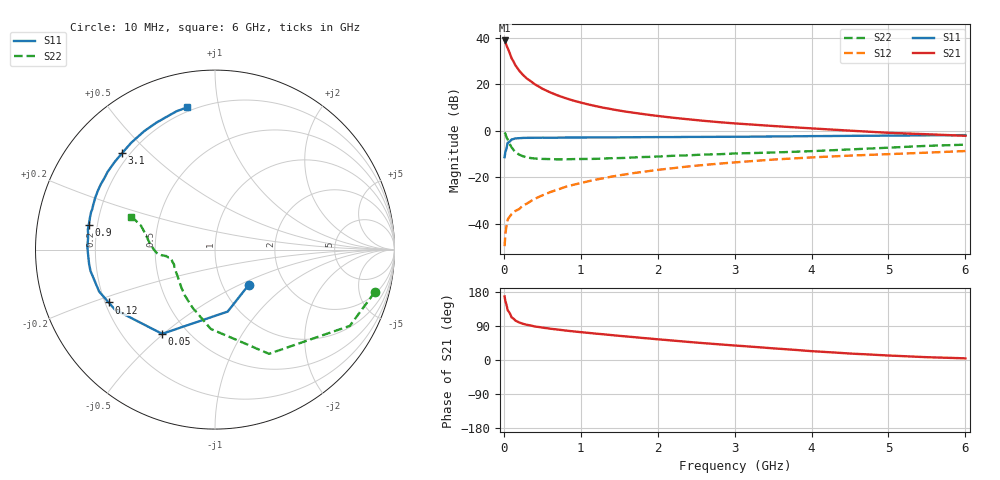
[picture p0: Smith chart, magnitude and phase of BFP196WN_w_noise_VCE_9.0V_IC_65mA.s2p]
! (c) 2017  Infineon Technologies AG, Munich
! Infineon Technologies  Discrete & RF Semiconductors
! BFP196WN
! VCE =  9.0 V,  IC =  65 mA
! Common Emitter S-Parameters:  Jan 2017
# GHz  S  MA  R  50
!  f  S11  S21  S12  S22
! GHz  MAG  ANG  MAG  ANG  MAG  ANG  MAG  ANG
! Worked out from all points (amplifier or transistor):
!   77 points, 10 MHz to 6 GHz, reference 50 ohm
!   highest |S21| = 38.9 dB at 10 MHz (marker M1)
!   |S21| within 3 dB of that: start of sweep to 45.59 MHz
!   unconditionally stable (mu >= 1): 608.8 MHz to 2.528 GHz
!   at 130 MHz: K = 0.57, MSG = 32.3 dB, |S12| = -35.0 dB
!   at 2.2 GHz: K = 1.02, MAG = 10.0 dB, |S12| = -16.1 dB
!   at 6 GHz: K = 0.90, MSG = 3.3 dB, |S12| = -8.7 dB
!   lowest NFmin = 1.43 dB at 450 MHz
!   S11 on the Smith chart (normalised r, x): 10 MHz: 1.33, -0.56; 50 MHz: 0.37, -0.50; 120 MHz: 0.21, -0.22; 900 MHz: 0.17, +0.10; 3.1 GHz: 0.17, +0.41; 6 GHz: 0.18, +0.81
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0.01  0.2716 -45.8  87.84 167.7  0.0033 82.9  0.9211 -14.9
0.02  0.3524 -78.4  80.41 155.5  0.006 74.4  0.863 -29.5
0.05  0.554 -122.1  59.86 131.1  0.0123 52.6  0.654 -62.6
0.1  0.65 -149.0  36.52 112.6  0.0161 50.2  0.4429 -93.0
0.12  0.6616 -153.6  32.14 109.9  0.0172 50.3  0.4006 -99.1
0.15  0.6866 -160.1  25.76 104.1  0.0189 50.5  0.3482 -110.8
0.2  0.6946 -166.4  19.65 99.0  0.0208 54.8  0.3067 -123.0
0.25  0.704 -170.4  15.87 95.4  0.0249 57.5  0.2834 -131.2
0.3  0.706 -173.6  13.3 92.8  0.0272 59.8  0.2668 -138.1
0.4  0.7081 -178.3  10.07 88.6  0.0342 63.4  0.2537 -146.5
0.5  0.7118 178.5  8.065 85.5  0.0408 65.9  0.2487 -152.5
0.6  0.7098 175.7  6.74 82.7  0.0479 67.0  0.2464 -157.0
0.7  0.7116 173.3  5.772 80.3  0.0543 68.4  0.243 -159.8
0.8  0.7171 171.0  5.056 77.8  0.0622 69.4  0.244 -161.7
0.9  0.7168 168.8  4.488 75.6  0.0687 68.9  0.2464 -163.7
1.1  0.7197 165.2  3.685 71.6  0.0823 69.2  0.2482 -166.7
1.5  0.7244 158.4  2.724 63.8  0.1103 67.6  0.2591 -170.5
2.1  0.733 148.8  1.999 53.0  0.1508 64.0  0.2848 -173.2
3.1  0.7458 134.0  1.407 36.9  0.2153 56.1  0.3283 -177.4
4.1  0.7702 119.7  1.103 22.2  0.2726 47.7  0.3713 172.9
5.1  0.7902 108.9  0.893 11.0  0.3195 40.1  0.4416 161.6
6  0.8077 101.0  0.781 4.3  0.3673 34.1  0.5033 158.9
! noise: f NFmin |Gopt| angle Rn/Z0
0.45  1.43  0.56  -176  0.05
0.9  1.55  0.58  -169  0.06
1.9  2.48  0.69  -147  0.18
2.4  3.26  0.7  -139  0.31
